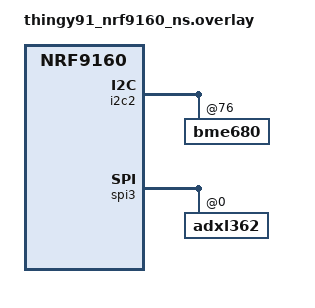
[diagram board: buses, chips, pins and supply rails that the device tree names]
/ {
    aliases {
        temperature = &bme680;
        humidity = &bme680;
        accelerometer = &adxl362;
        barometer = &bme680;
        push-button-0 = &button0;
    };
};

&i2c2 {
    bme680: bme680@76 {};
};

&spi3 {
    adxl362: adxl362@0 {};
};
